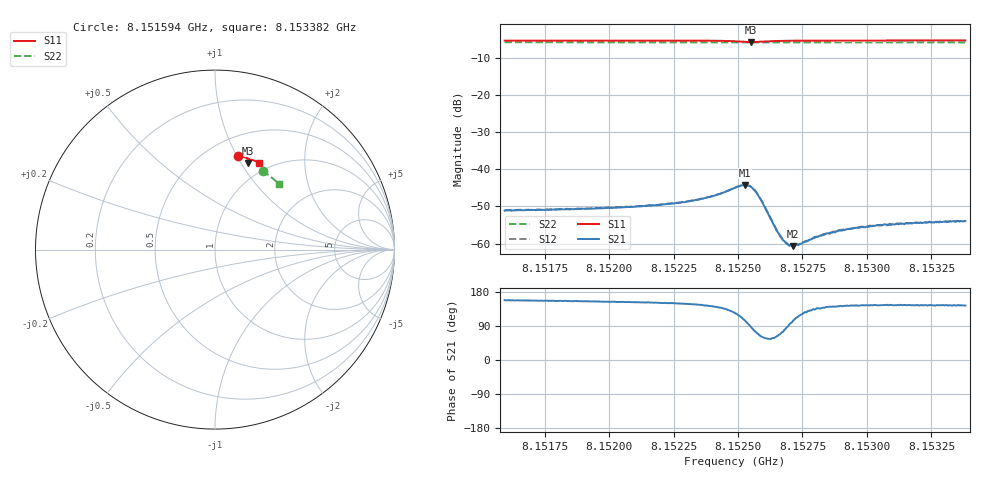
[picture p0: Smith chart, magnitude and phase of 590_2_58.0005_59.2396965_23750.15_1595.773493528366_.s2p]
#  HZ  S  RI  R  50.00
! Rohde & Schwarz Vector Network Analyzer
! Rohde-Schwarz,ZNB20-2Port,1311601062101988,3.16
! Created: UTC 3/21/2024, 1:16:47 AM
! freq[Hz]  re:S11  im:S11  re:S21  im:S21  re:S12  im:S12  re:S22  im:S22
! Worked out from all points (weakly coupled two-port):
!   401 points, 8.151594 GHz to 8.153382 GHz, reference 50 ohm
!   highest |S21| = -44.24 dB at 8.152528 GHz (marker M1); lowest = -60.7 dB at 8.152712 GHz (marker M2)
!   lowest |S11| = -5.7 dB at 8.152551 GHz (marker M3), VSWR 3.13, Z = 40.9 + j53.7 ohm
!   |S11| at or under -10 dB: nowhere
!   |S22| runs from -5.8 to -5.8 dB; largest |S21 - S12| = 0.00014
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8.1515945e9  0.1304 0.524  -0.00257 0.00103  -0.00259 0.00112  0.2654 0.4383
8.1518939e9  0.1513 0.5188  -0.00268 0.00124  -0.00264 0.00128  0.2814 0.4277
8.1521933e9  0.1728 0.512  -0.00291 0.00162  -0.00289 0.00163  0.2971 0.4165
8.1522871e9  0.1801 0.5092  -0.0031 0.00187  -0.00305 0.00193  0.3018 0.4129
8.1523675e9  0.1869 0.5057  -0.00332 0.00236  -0.00328 0.00242  0.3059 0.4098
8.1524301e9  0.1927 0.5008  -0.00348 0.00312  -0.00345 0.00317  0.3091 0.4071
8.1524882e9  0.1965 0.4919  -0.00317 0.00467  -0.00314 0.0047  0.3119 0.4045
8.1525284e9  0.192 0.483  -0.0014 0.00597  -0.00133 0.00603  0.3135 0.4027
8.1525507e9  0.1849 0.4819  0.000328 0.00576  0.000397 0.00582  0.3142 0.4019
8.1525642e9  0.1812 0.4841  0.00122 0.00505  0.00124 0.00513  0.3149 0.4016
8.152582e9  0.1784 0.4889  0.00173 0.00387  0.00182 0.00391  0.3156 0.4011
8.1526446e9  0.1844 0.5001  0.000816 0.00143  0.000877 0.00141  0.319 0.399
8.1526669e9  0.1877 0.5013  0.000392 0.00114  0.000433 0.00117  0.32 0.398
8.1526893e9  0.1906 0.5019  6.04e-05 0.000986  6.79e-05 0.00102  0.3213 0.3972
8.1527116e9  0.1932 0.502  -0.000194 0.000903  -0.000193 0.000916  0.3224 0.3962
8.1527429e9  0.1966 0.5017  -0.000484 0.000865  -0.000472 0.000895  0.3239 0.395
8.1527876e9  0.2009 0.5012  -0.000788 0.000861  -0.000781 0.000855  0.3262 0.3932
8.1528412e9  0.2057 0.4999  -0.00103 0.000876  -0.00102 0.000909  0.3288 0.3909
8.1529127e9  0.2112 0.4982  -0.00121 0.000912  -0.00123 0.000988  0.3323 0.3878
8.1530423e9  0.2206 0.4947  -0.00144 0.00104  -0.00142 0.00105  0.3383 0.3823
8.153087e9  0.2238 0.4935  -0.0015 0.00104  -0.00149 0.00105  0.3404 0.3804
8.1533819e9  0.2431 0.485  -0.00162 0.00119  -0.00161 0.0012  0.354 0.3672
